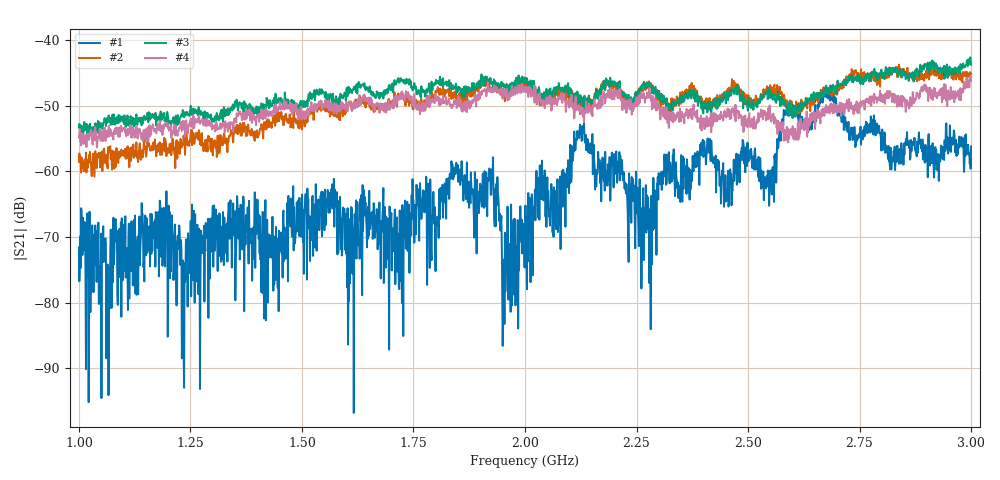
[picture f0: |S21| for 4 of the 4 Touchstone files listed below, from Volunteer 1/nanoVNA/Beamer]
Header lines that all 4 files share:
# HZ S RI R 50
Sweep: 1 GHz to 3 GHz
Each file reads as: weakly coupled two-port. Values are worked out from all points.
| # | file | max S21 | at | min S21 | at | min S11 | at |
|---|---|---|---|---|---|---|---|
| 1 | Air.s2p | -47.74 dB | 2.679 GHz | -96.8 dB | 1.616 GHz | -2.3 dB | 2.959 GHz |
| 2 | M1.s2p | -43.72 dB | 2.839 GHz | -60.8 dB | 1.035 GHz | -7.2 dB | 2.888 GHz |
| 3 | M2.s2p | -42.60 dB | 2.998 GHz | -54.7 dB | 1.005 GHz | -5.2 dB | 2.992 GHz |
| 4 | M3.s2p | -45.45 dB | 2.999 GHz | -56.3 dB | 1.041 GHz | -3.2 dB | 2.994 GHz |
